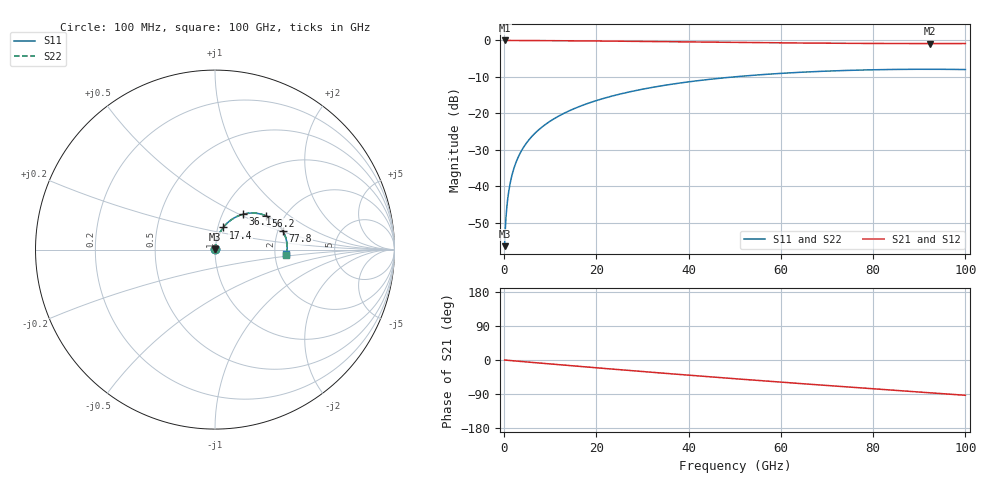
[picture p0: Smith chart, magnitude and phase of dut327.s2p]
! Touchstone file exported from HFSS 2026.1.0
!  File:  C:/ffzhzh/LocalFiles/Ansys_Project_Files/temp_train_RDL_327_1783502817_44152.aedt
!  Generated:  05:28:19 PM Jul  8, 2026
!  Design:  RDL
!  Project:  temp_train_RDL_327_1783502817_44152
! Variables:
!  h_bsmrdl = 2um
!  h_ox = 20um
!  h_rdl = 5um
!  h_sub = 80um
!  h_tmrdl = 4.55um
!  h_tsv = 80um
!  h_via = 3um
!  l_bsmrdl = 300um
!  l_sub = 706.39um
!  l_tmrdl = 306.39um
!  m_sub = 200um
!  pitch = 41.89um
!  r_tsv = 6um
!  s_tmrdl = 10um
!  w_bsmrdl = 18um
!  w_sub = 500um
!  w_tmrdl = 24.7um
!  x_tsv_center1 = 318.74um
!  x_tsv_center2 = 636.74um
!  x_tsv_center3 = 967.83um
!  x_tsv_center4 = 1285.83um
!  x_tsv_center5 = 1616.92um
!  x_tsv_center6 = 1934.92um
# GHz S MA R 50.000000
! Terminal data exported
! Port[1] = TM_RDL1_1_T1
! Port[2] = TM_RDL1_1_T2
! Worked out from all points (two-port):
!   1000 points, 100 MHz to 100 GHz, reference 50 ohm
!   highest |S21| = -0.01 dB at 100 MHz (marker M1); lowest = -0.9 dB at 92.4 GHz (marker M2)
!   |S21| within 3 dB of the highest: start of sweep to end of sweep
!   lowest |S11| = -56.4 dB at 100 MHz (marker M3), VSWR 1.00, Z = 50.1 + j0.0966 ohm
!   |S11| at or under -10 dB: start of sweep to 49.85 GHz
!   |S22| runs from -56.4 to -7.9 dB; largest |S21 - S12| = 4e-15
!   S11 on the Smith chart (normalised r, x): 100 MHz: 1.00, +0.00; 17.4 GHz: 1.06, +0.27; 36.1 GHz: 1.24, +0.52; 56.2 GHz: 1.61, +0.69; 77.8 GHz: 2.14, +0.51; 100 GHz: 2.32, -0.15
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0.1  0.001508 39.7  0.9988 -0.1  0.9988 -0.1  0.001508 39.7
! Gamma 0 0 0 0
! Port Impedance 50 0 50 0
0.9  0.007724 77.6  0.9984 -1.0  0.9984 -1.0  0.007724 77.6
1.2  0.01015 79.6  0.9983 -1.3  0.9983 -1.3  0.01015 79.6
1.5  0.01259 80.7  0.9982 -1.6  0.9982 -1.6  0.01259 80.7
2  0.01666 81.6  0.998 -2.1  0.998 -2.1  0.01666 81.6
2.5  0.0207 81.8  0.9978 -2.7  0.9978 -2.7  0.0207 81.8
4  0.03264 81.2  0.9969 -4.2  0.9969 -4.2  0.03264 81.2
6.1  0.04891 79.6  0.9954 -6.4  0.9954 -6.4  0.04891 79.6
8.9  0.07007 77.2  0.9933 -9.3  0.9933 -9.3  0.07007 77.2
12.4  0.09592 74.1  0.9903 -12.9  0.9903 -12.9  0.09593 74.1
16.8  0.1275 70.0  0.986 -17.3  0.986 -17.3  0.1275 70.0
17.4  0.1317 69.5  0.9853 -17.9  0.9853 -17.9  0.1317 69.5
24.6  0.1804 62.7  0.9766 -25.1  0.9766 -25.1  0.1804 62.6
33.4  0.2344 54.4  0.9642 -33.7  0.9642 -33.7  0.2344 54.3
36.1  0.2496 51.9  0.9602 -36.3  0.9602 -36.3  0.2497 51.8
50.1  0.3173 39.1  0.9394 -49.5  0.9394 -49.5  0.3173 39.0
56.2  0.3406 33.6  0.931 -55.0  0.931 -55.0  0.3407 33.6
66.7  0.372 24.5  0.9188 -64.4  0.9188 -64.4  0.372 24.4
77.8  0.3931 15.0  0.9098 -74.0  0.9098 -74.0  0.3932 14.9
83.4  0.3991 10.2  0.9071 -78.9  0.9071 -78.9  0.3992 10.1
92.4  0.4023 2.6  0.9054 -86.6  0.9054 -86.6  0.4024 2.5
100  0.3988 -3.8  0.9065 -93.1  0.9065 -93.1  0.3989 -3.9
